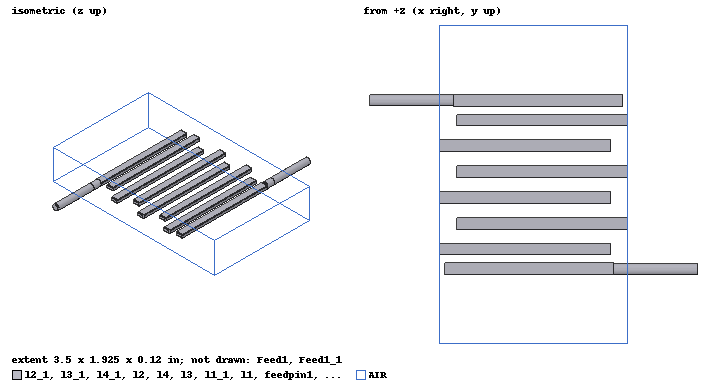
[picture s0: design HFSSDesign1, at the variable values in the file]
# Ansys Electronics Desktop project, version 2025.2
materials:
  vacuum: permittivity=1
  pec: conductivity=1e+30

design HFSSDesign1 (HFSS, HFSS Terminal Network, model units in)
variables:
  L1 = -1.8in
  L2 = 1.818in
  L3 = -1.818in
  L4 = 1.818in
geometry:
  AIR [vacuum] = box(corner=(-1in, -1.7in, -0.3125in), size=(2in, 3.4in, 0.625in))
  Feed1 [vacuum] = cylinder(axis=X, base_centre=(1in, -0.9in, 0in), radius=0.14in, height=0.75in)
  feedpin1 [pec] = cylinder(axis=X, base_centre=(1in, -0.9in, 0in), radius=0.06in, height=0.75in)
  feedprobe1 [pec] = cylinder(axis=X, base_centre=(1in, -0.9in, 0in), radius=0.06in, height=-0.15in)
  l1 [pec] = box(corner=(0.85in, -0.9625in, -0.03in), size=(L1, 0.125in, 0.06in))
  l2 [pec] = box(corner=(-1in, -0.75in, -0.03in), size=(L2, 0.125in, 0.06in))
  l3 [pec] = box(corner=(1in, -0.48in, -0.03in), size=(L3, 0.125in, 0.06in))
  l4 [pec] = box(corner=(-1in, -0.2in, -0.03in), size=(L4, 0.125in, 0.06in))
  Feed1_1 [vacuum] = Feed1.duplicate_around_axis(axis=Z, angle=180deg, total=2)
  feedpin1_1 [pec] = feedpin1.duplicate_around_axis(axis=Z, angle=180deg, total=2)
  feedprobe1_1 [pec] = feedprobe1.duplicate_around_axis(axis=Z, angle=180deg, total=2)
  l1_1 [pec] = l1.duplicate_around_axis(axis=Z, angle=180deg, total=2)
  l2_1 [pec] = l2.duplicate_around_axis(axis=Z, angle=180deg, total=2)
  l3_1 [pec] = l3.duplicate_around_axis(axis=Z, angle=180deg, total=2)
  l4_1 [pec] = l4.duplicate_around_axis(axis=Z, angle=180deg, total=2)
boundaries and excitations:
  Feed1_T1: Terminal port=p1 Faces=feedpin1.face(+x end) TerminalResistance=50ohm
  Feed1_T2: Terminal port=p2 Faces=feedpin1_1.face(at (-1.75, 0.9, 0)) TerminalResistance=50ohm
  p1: Wave Port Faces=Feed1.face(+x end) WavePortType=Terminal NumModes=1
  p2: Wave Port Faces=Feed1_1.face(at (-1.75, 0.9, 0)) WavePortType=Terminal NumModes=1
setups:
  Setup1: HfssDriven Frequency=1.5GHz MaxDeltaS=0.02 MaximumPasses=15 MinimumPasses=1 MinimumConvergedPasses=1 PercentRefinement=30 BasisOrder=1 PortAccuracy=2 DrivenSolverType="Direct Solver"
    sweep Sweep: 0.6GHz to 2.4GHz, 451 points; Type=Fast SaveFields
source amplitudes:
  p1:1, p2:1: 1V 0deg
